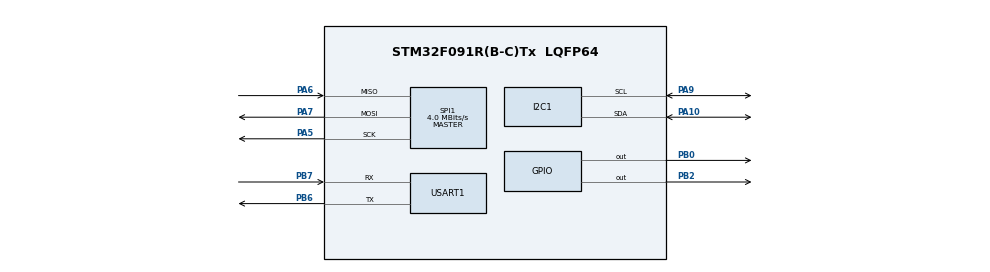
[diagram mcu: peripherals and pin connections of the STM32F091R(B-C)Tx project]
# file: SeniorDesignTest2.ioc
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Mcu.Family=STM32F0
Mcu.Name=STM32F091R(B-C)Tx
Mcu.Package=LQFP64
PA10.Mode=I2C
PA10.Signal=I2C1_SDA
PA13.Mode=Serial_Wire
PA13.Signal=SYS_SWDIO
PA14.Mode=Serial_Wire
PA14.Signal=SYS_SWCLK
PA5.Mode=Full_Duplex_Master
PA5.Signal=SPI1_SCK
PA6.Mode=Full_Duplex_Master
PA6.Signal=SPI1_MISO
PA7.Mode=Full_Duplex_Master
PA7.Signal=SPI1_MOSI
PA9.Mode=I2C
PA9.Signal=I2C1_SCL
PB0.Signal=GPIO_Output
PB2.Signal=GPIO_Output
PB6.Mode=Asynchronous
PB6.Signal=USART1_TX
PB7.Mode=Asynchronous
PB7.Signal=USART1_RX
PF0-OSC_IN.Signal=RCC_OSC_IN
ProjectManager.HeapSize=0x200
ProjectManager.StackSize=0x400
ProjectManager.TargetToolchain=STM32CubeIDE
SPI1.CalculateBaudRate=4.0 MBits/s
SPI1.Direction=SPI_DIRECTION_2LINES
SPI1.Mode=SPI_MODE_MASTER
SPI1.VirtualType=VM_MASTER
USART1.VirtualMode-Asynchronous=VM_ASYNC
board=custom

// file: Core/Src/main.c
/* USER CODE BEGIN Header */
/**
  ******************************************************************************
  * @file           : main.c
  * @brief          : Main program body
  ******************************************************************************
  * @attention
  *
  * Copyright (c) 2024 STMicroelectronics.
  * All rights reserved.
  *
  * This software is licensed under terms that can be found in the LICENSE file
  * in the root directory of this software component.
  * If no LICENSE file comes with this software, it is provided AS-IS.
  *
  ******************************************************************************
  */
/* USER CODE END Header */
#include "main.h"
#include "i2c.h"
#include "spi.h"
#include "usart.h"
#include "gpio.h"

/* USER CODE BEGIN Includes */
#include <string.h>
#include <stdio.h>
// Include driver for IMU
#include "lsm6dsox_reg.h"
/* USER CODE END Includes */

/* USER CODE BEGIN PD */
// Define LSM6DSOX Device Address. Must be shifted 1 bit to the left.
#define IMU_DEVICE_ADDR 0x6A << 1
// Communication interface
#define SENSOR_BUS hi2c1
/* USER CODE END PD */

/* USER CODE BEGIN PM */
#define    BOOT_TIME            10 //ms
/* USER CODE END PM */

/* USER CODE BEGIN PV */
static int16_t data_raw_acceleration[3];
static int16_t data_raw_angular_rate[3];
static int16_t data_raw_temperature;
static float acceleration_mg[3];
static float angular_rate_mdps[3];
static float temperature_degC;
static uint8_t whoamI, rst;
static uint8_t tx_buffer[1000];

/* USER CODE END PV */

void SystemClock_Config(void);
/* USER CODE BEGIN PFP */
static int32_t platform_write(void *handle, uint8_t reg, const uint8_t *bufp,
                              uint16_t len);
static int32_t platform_read(void *handle, uint8_t reg, uint8_t *bufp,
                             uint16_t len);
static void tx_com( uint8_t *tx_buffer, uint16_t len );
static void platform_delay(uint32_t ms);
static void platform_init(void);
void lsm6dsox_read_data_polling(void);
/* USER CODE END PFP */

int main(void)
{

  /* MCU Configuration--------------------------------------------------------*/

  /* Reset of all peripherals, Initializes the Flash interface and the Systick. */
  HAL_Init();

  /* Configure the system clock */
  SystemClock_Config();

  /* Initialize all configured peripherals */
  MX_GPIO_Init();
  MX_I2C1_Init();
  MX_SPI1_Init();
  MX_USART1_UART_Init();
  /* USER CODE BEGIN 2 */
  MX_I2C1_Init();

  HAL_I2C_MspInit(&hi2c1);

  // Check if IMU is good
  if (HAL_I2C_IsDeviceReady(&hi2c1, IMU_DEVICE_ADDR, 1, 100) == HAL_OK) {
	HAL_GPIO_WritePin(GPIOB, GPIO_PIN_2, 1);
	// Printf doesn't seem to work so we will debug with LEDs
	printf("The device is ready\n");
  }
  else {
	HAL_GPIO_WritePin(GPIOB, GPIO_PIN_0, 1);
    printf("The device is not ready :((\n");
  }

  /* USER CODE END 2 */

  /* Infinite loop */
  while (1)
  {
    /* USER CODE BEGIN 3 */
	lsm6dsox_read_data_polling();
  }
  /* USER CODE END 3 */
}

void SystemClock_Config(void)
{
  RCC_OscInitTypeDef RCC_OscInitStruct = {0};
  RCC_ClkInitTypeDef RCC_ClkInitStruct = {0};
  RCC_PeriphCLKInitTypeDef PeriphClkInit = {0};

  /** Initializes the RCC Oscillators according to the specified parameters
  * in the RCC_OscInitTypeDef structure.
  */
  RCC_OscInitStruct.OscillatorType = RCC_OSCILLATORTYPE_HSI;
  RCC_OscInitStruct.HSIState = RCC_HSI_ON;
  RCC_OscInitStruct.HSICalibrationValue = RCC_HSICALIBRATION_DEFAULT;
  RCC_OscInitStruct.PLL.PLLState = RCC_PLL_NONE;
  if (HAL_RCC_OscConfig(&RCC_OscInitStruct) != HAL_OK)
  {
    Error_Handler();
  }

  /** Initializes the CPU, AHB and APB buses clocks
  */
  RCC_ClkInitStruct.ClockType = RCC_CLOCKTYPE_HCLK|RCC_CLOCKTYPE_SYSCLK
                              |RCC_CLOCKTYPE_PCLK1;
  RCC_ClkInitStruct.SYSCLKSource = RCC_SYSCLKSOURCE_HSI;
  RCC_ClkInitStruct.AHBCLKDivider = RCC_SYSCLK_DIV1;
  RCC_ClkInitStruct.APB1CLKDivider = RCC_HCLK_DIV1;

  if (HAL_RCC_ClockConfig(&RCC_ClkInitStruct, FLASH_LATENCY_0) != HAL_OK)
  {
    Error_Handler();
  }
  PeriphClkInit.PeriphClockSelection = RCC_PERIPHCLK_USART1|RCC_PERIPHCLK_I2C1;
  PeriphClkInit.Usart1ClockSelection = RCC_USART1CLKSOURCE_PCLK1;
  PeriphClkInit.I2c1ClockSelection = RCC_I2C1CLKSOURCE_HSI;
  if (HAL_RCCEx_PeriphCLKConfig(&PeriphClkInit) != HAL_OK)
  {
    Error_Handler();
  }
}

/* USER CODE BEGIN 4 */
void lsm6dsox_read_data_polling(void)
{
  stmdev_ctx_t dev_ctx;
  /* Initialize mems driver interface */
  dev_ctx.write_reg = platform_write;
  dev_ctx.read_reg = platform_read;
  dev_ctx.mdelay = platform_delay;
  dev_ctx.handle = &SENSOR_BUS;
  /* Init test platform */
  platform_init();
  /* Wait sensor boot time */
  platform_delay(BOOT_TIME);
  /* Check device ID */
  lsm6dsox_device_id_get(&dev_ctx, &whoamI);

  if (whoamI != LSM6DSOX_ID)
    while (1);

  /* Restore default configuration */
  lsm6dsox_reset_set(&dev_ctx, PROPERTY_ENABLE);

  do {
    lsm6dsox_reset_get(&dev_ctx, &rst);
  } while (rst);

  /* Disable I3C interface */
  lsm6dsox_i3c_disable_set(&dev_ctx, LSM6DSOX_I3C_DISABLE);
  /* Enable Block Data Update */
  lsm6dsox_block_data_update_set(&dev_ctx, PROPERTY_ENABLE);
  /* Set Output Data Rate */
  lsm6dsox_xl_data_rate_set(&dev_ctx, LSM6DSOX_XL_ODR_12Hz5);
  lsm6dsox_gy_data_rate_set(&dev_ctx, LSM6DSOX_GY_ODR_12Hz5);
  /* Set full scale */
  lsm6dsox_xl_full_scale_set(&dev_ctx, LSM6DSOX_2g);
  lsm6dsox_gy_full_scale_set(&dev_ctx, LSM6DSOX_2000dps);
  /* Configure filtering chain(No aux interface)
   * Accelerometer - LPF1 + LPF2 path
   */
  lsm6dsox_xl_hp_path_on_out_set(&dev_ctx, LSM6DSOX_LP_ODR_DIV_100);
  lsm6dsox_xl_filter_lp2_set(&dev_ctx, PROPERTY_ENABLE);

  /* Read samples in polling mode (no int) */
  while (1) {
    uint8_t reg;
    /* Read output only if new xl value is available */
    lsm6dsox_xl_flag_data_ready_get(&dev_ctx, &reg);

    if (reg) {
      /* Read acceleration field data */
      memset(data_raw_acceleration, 0x00, 3 * sizeof(int16_t));
      lsm6dsox_acceleration_raw_get(&dev_ctx, data_raw_acceleration);
      acceleration_mg[0] =
        lsm6dsox_from_fs2_to_mg(data_raw_acceleration[0]);
      acceleration_mg[1] =
        lsm6dsox_from_fs2_to_mg(data_raw_acceleration[1]);
      acceleration_mg[2] =
        lsm6dsox_from_fs2_to_mg(data_raw_acceleration[2]);
      sprintf((char *)tx_buffer,
              "Acceleration [mg]:%4.2f\t%4.2f\t%4.2f\r\n",
              acceleration_mg[0], acceleration_mg[1], acceleration_mg[2]);
      tx_com(tx_buffer, strlen((char const *)tx_buffer));
    }

    lsm6dsox_gy_flag_data_ready_get(&dev_ctx, &reg);

    if (reg) {
      /* Read angular rate field data */
      memset(data_raw_angular_rate, 0x00, 3 * sizeof(int16_t));
      lsm6dsox_angular_rate_raw_get(&dev_ctx, data_raw_angular_rate);
      angular_rate_mdps[0] =
        lsm6dsox_from_fs2000_to_mdps(data_raw_angular_rate[0]);
      angular_rate_mdps[1] =
        lsm6dsox_from_fs2000_to_mdps(data_raw_angular_rate[1]);
      angular_rate_mdps[2] =
        lsm6dsox_from_fs2000_to_mdps(data_raw_angular_rate[2]);
      sprintf((char *)tx_buffer,
              "Angular rate [mdps]:%4.2f\t%4.2f\t%4.2f\r\n",
              angular_rate_mdps[0], angular_rate_mdps[1], angular_rate_mdps[2]);
      tx_com(tx_buffer, strlen((char const *)tx_buffer));
    }

    lsm6dsox_temp_flag_data_ready_get(&dev_ctx, &reg);

    if (reg) {
      /* Read temperature data */
      memset(&data_raw_temperature, 0x00, sizeof(int16_t));
      lsm6dsox_temperature_raw_get(&dev_ctx, &data_raw_temperature);
      temperature_degC = lsm6dsox_from_lsb_to_celsius(
                           data_raw_temperature);
      sprintf((char *)tx_buffer,
              "Temperature [degC]:%6.2f\r\n", temperature_degC);
      tx_com(tx_buffer, strlen((char const *)tx_buffer));
    }
  }
}

/*
 * @brief  Write generic device register (platform dependent)
 *
 * @param  handle    customizable argument. In this examples is used in
 *                   order to select the correct sensor bus handler.
 * @param  reg       register to write
 * @param  bufp      pointer to data to write in register reg
 * @param  len       number of consecutive register to write
 *
 */
static int32_t platform_write(void *handle, uint8_t reg, const uint8_t *bufp,
                              uint16_t len)
{
  HAL_I2C_Mem_Write(handle, LSM6DSOX_I2C_ADD_L, reg,
                    I2C_MEMADD_SIZE_8BIT, (uint8_t*) bufp, len, 1000);

  return 0;
}

/*
 * @brief  Read generic device register (platform dependent)
 *
 * @param  handle    customizable argument. In this examples is used in
 *                   order to select the correct sensor bus handler.
 * @param  reg       register to read
 * @param  bufp      pointer to buffer that store the data read
 * @param  len       number of consecutive register to read
 *
 */
static int32_t platform_read(void *handle, uint8_t reg, uint8_t *bufp,
                             uint16_t len)
{
  HAL_I2C_Mem_Read(handle, LSM6DSOX_I2C_ADD_L, reg,
                   I2C_MEMADD_SIZE_8BIT, bufp, len, 1000);

  return 0;
}

/*
 * @brief  platform specific outputs on terminal (platform dependent)
 *
 * @param  tx_buffer     buffer to transmit
 * @param  len           number of byte to send
 *
 */
static void tx_com(uint8_t *tx_buffer, uint16_t len)
{
  HAL_UART_Transmit(&huart1, tx_buffer, len, 1000);
}

/*
 * @brief  platform specific delay (platform dependent)
 *
 * @param  ms        delay in ms
 *
 */
static void platform_delay(uint32_t ms)
{
  HAL_Delay(ms);
}

/*
 * @brief  platform specific initialization (platform dependent)
 */
static void platform_init(void)
{
  return;
}
/* USER CODE END 4 */

void Error_Handler(void)
{
  __disable_irq();
  while (1)
  {
  }
}
